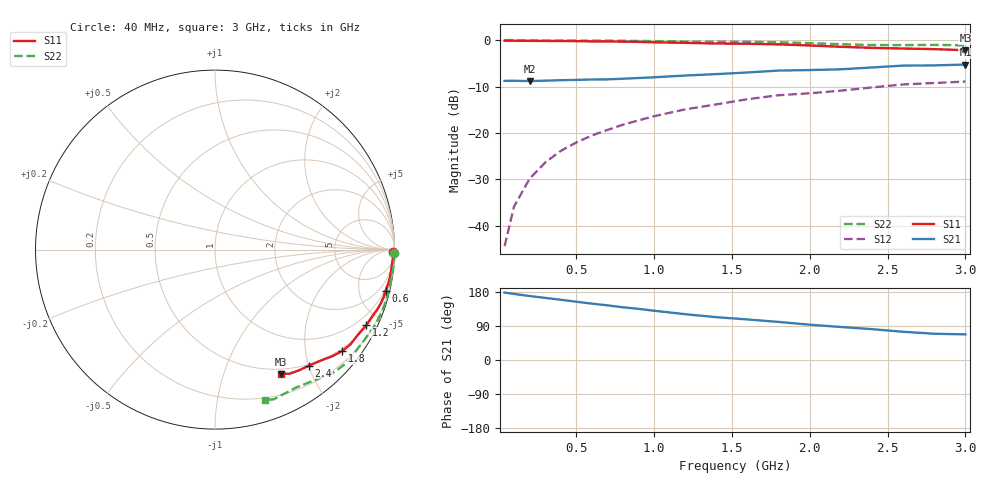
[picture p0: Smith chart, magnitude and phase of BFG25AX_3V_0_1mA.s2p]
! Filename:  BFG25AXF.S2P  Version:  2.0
! Philips part #: BFG25A/X  Date: May 1990
! Bias condition: Vce=3V, Ic=0.1mA
#  MHz  S  MA  R  50
! Freq  S11  S21  S12  S22  !GUM [dB]
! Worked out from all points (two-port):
!   21 points, 40 MHz to 3 GHz, reference 50 ohm
!   highest |S21| = -5.21 dB at 3 GHz (marker M1); lowest = -8.8 dB at 200 MHz (marker M2)
!   |S21| within 3 dB of the highest: 838.2 MHz to end of sweep
!   lowest |S11| = -2.1 dB at 3 GHz (marker M3), VSWR 8.26, Z = 21.9 - j78.8 ohm
!   |S11| at or under -10 dB: nowhere
!   |S22| runs from -1.1 to 0.0 dB; largest |S21 - S12| = 0.37
!   S11 on the Smith chart (normalised r, x): 40 MHz: open; 600 MHz: 0.79, -8.31; 1.2 GHz: 0.56, -4.19; 1.8 GHz: 0.44, -2.80; 2.4 GHz: 0.48, -2.00; 3 GHz: 0.44, -1.58
40  0.994 -0.9  0.366 177.9  0.006 89.2  1 -1.1
100  0.993 -2.3  0.367 174.3  0.016 87.7  1 -2.7
200  0.99 -4.6  0.364 168.9  0.032 85.7  0.998 -5.4
300  0.988 -6.8  0.368 163.9  0.048 83.6  0.996 -8.2
400  0.987 -9.1  0.372 159.0  0.064 82.0  0.995 -10.9
500  0.983 -11.3  0.375 153.8  0.079 80.2  0.995 -13.6
600  0.978 -13.6  0.379 148.8  0.094 78.7  0.994 -16.1
700  0.976 -15.7  0.38 144.3  0.108 77.2  0.993 -18.7
800  0.971 -17.9  0.386 139.1  0.123 75.6  0.991 -21.2
900  0.965 -19.9  0.393 135.0  0.137 74.0  0.988 -23.6
1000  0.955 -22.1  0.4 130.0  0.152 72.1  0.984 -26.1
1200  0.942 -26.4  0.418 120.9  0.18 67.7  0.973 -31.1
1400  0.927 -30.8  0.433 113.0  0.204 64.4  0.967 -36.1
1600  0.921 -35.0  0.451 107.0  0.232 62.0  0.966 -40.9
1800  0.907 -38.5  0.473 100.5  0.256 58.3  0.955 -45.1
2000  0.883 -42.3  0.479 93.1  0.269 54.5  0.935 -49.1
2200  0.854 -46.4  0.488 87.1  0.287 51.6  0.91 -53.8
2400  0.832 -51.0  0.511 81.4  0.311 47.2  0.892 -59.4
2600  0.818 -55.6  0.535 74.5  0.335 42.9  0.891 -64.5
2800  0.806 -59.1  0.538 69.3  0.347 40.4  0.896 -68.4
3000  0.784 -62.0  0.549 67.6  0.36 40.4  0.885 -71.6
